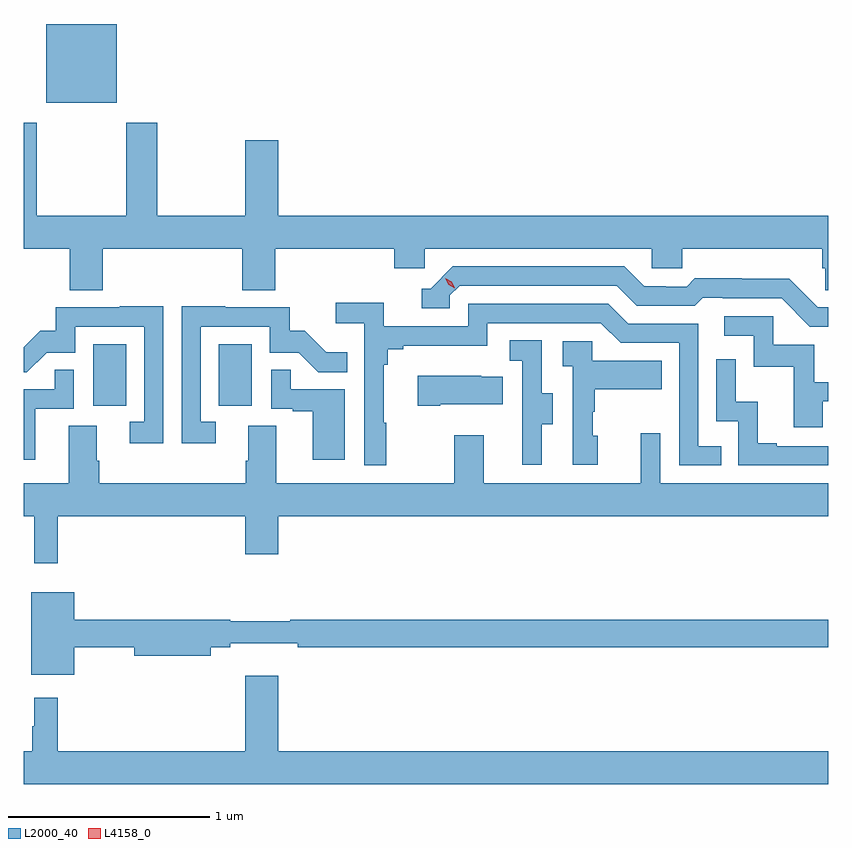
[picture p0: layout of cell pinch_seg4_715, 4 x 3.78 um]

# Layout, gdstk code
import gdstk
lib = gdstk.Library(unit=1e-6, precision=1e-09)
def R(c, l, rs):  # rectangles x0, y0, x1, y1
    for r in rs: c.add(gdstk.rectangle(r[:2], r[2:], *l))
def P(c, l, *ps):  # polygons
    for p in ps: c.add(gdstk.Polygon(p, *l))
L2000_40 = (2000, 40)
L4158_0 = (4158, 0)

pinch_seg4_715 = lib.new_cell('pinch_seg4_715')
R(pinch_seg4_715, L2000_40, [(835.58,812.022,835.744,812.329), (836.204,812.022,836.368,812.329), (835.346,813.53,835.696,813.921)])
P(pinch_seg4_715, L2000_40, [(835.628,812.804),(836.321,812.804),(836.321,812.596),(836.486,812.596),(836.486,812.804),(837.077,812.804),(837.077,812.706),(837.228,812.706),(837.228,812.804),(838.359,812.804),(838.359,812.706),(838.509,812.706),(838.509,812.804),(839.207,812.804),(839.207,812.706),(839.221,812.706),(839.221,812.596),(839.235,812.596),(839.235,812.968),(836.5,812.968),(836.5,813.343),(836.336,813.343),(836.336,812.968),(835.899,812.968),(835.899,813.43),(835.744,813.43),(835.744,812.968),(835.299,812.968),(835.299,813.43),(835.235,813.43),(835.235,812.804),(835.463,812.804),(835.463,812.596),(835.628,812.596)],
  [(839.235,812.511),(839.184,812.511),(839.042,812.653),(838.806,812.653),(838.806,812.656),(838.573,812.656),(838.531,812.613),(838.428,812.613),(838.428,812.616),(838.321,812.616),(838.222,812.715),(837.369,812.715),(837.258,812.604),(837.215,812.604),(837.215,812.508),(837.354,812.508),(837.354,812.571),(837.402,812.619),(838.185,812.619),(838.284,812.52),(838.573,812.52),(838.612,812.559),(838.711,812.559),(838.711,812.556),(839.004,812.556),(839.145,812.415),(839.235,812.415)],
  [(837.037,811.937),(837.025,811.937),(837.025,812.225),(837.044,812.225),(837.044,812.302),(837.121,812.302),(837.121,812.321),(837.54,812.321),(837.54,812.433),(838.104,812.433),(838.203,812.334),(838.494,812.334),(838.494,811.725),(838.703,811.725),(838.703,811.821),(838.59,811.821),(838.59,812.43),(838.24,812.43),(838.141,812.529),(837.444,812.529),(837.444,812.418),(837.026,812.418),(837.026,812.534),(836.787,812.534),(836.787,812.432),(836.928,812.432),(836.928,811.725),(837.037,811.725)],
  [(836.188,811.941),(836.115,811.941),(836.115,812.415),(836.457,812.415),(836.457,812.286),(836.601,812.286),(836.699,812.188),(836.843,812.188),(836.843,812.287),(836.739,812.287),(836.632,812.394),(836.556,812.394),(836.556,812.511),(836.237,812.511),(836.237,812.516),(836.019,812.516),(836.019,811.836),(836.188,811.836)],
  [(835.929,812.516),(835.711,812.516),(835.711,812.511),(835.393,812.511),(835.393,812.394),(835.316,812.394),(835.235,812.313),(835.235,812.188),(835.249,812.188),(835.347,812.286),(835.491,812.286),(835.491,812.415),(835.833,812.415),(835.833,811.941),(835.761,811.941),(835.761,811.836),(835.929,811.836)],
  [(839.209,812.043),(839.235,812.043),(839.235,812.139),(839.167,812.139),(839.167,812.325),(838.962,812.325),(838.962,812.466),(838.719,812.466),(838.719,812.37),(838.866,812.37),(838.866,812.217),(839.065,812.217),(839.065,811.914),(839.209,811.914)],
  [(837.811,811.93),(837.865,811.93),(837.865,812.085),(837.81,812.085),(837.81,812.348),(837.651,812.348),(837.651,812.245),(837.714,812.245),(837.714,811.941),(837.713,811.941),(837.713,811.728),(837.811,811.728)],
  [(838.09,811.872),(838.065,811.872),(838.065,811.991),(838.075,811.991),(838.075,812.105),(838.409,812.105),(838.409,812.245),(838.062,812.245),(838.062,812.343),(837.915,812.343),(837.915,812.219),(837.966,812.219),(837.966,811.728),(838.09,811.728)],
  [(839.235,811.821),(838.981,811.821),(838.981,811.834),(838.886,811.834),(838.886,812.042),(838.776,812.042),(838.776,812.254),(838.68,812.254),(838.68,811.944),(838.788,811.944),(838.788,811.725),(839.235,811.725)],
  [(836.83,812.103),(836.561,812.103),(836.561,812.201),(836.466,812.201),(836.466,812.007),(836.573,812.007),(836.573,811.995),(836.672,811.995),(836.672,811.752),(836.83,811.752)],
  [(835.291,812.007),(835.482,812.007),(835.482,812.201),(835.387,812.201),(835.387,812.103),(835.235,812.103),(835.235,811.752),(835.291,811.752)],
  [(837.307,812.03),(837.617,812.03),(837.617,812.167),(837.509,812.167),(837.509,812.17),(837.195,812.17),(837.195,812.023),(837.307,812.023)],
  [(835.403,811.472),(836.336,811.472),(836.336,811.284),(836.5,811.284),(836.5,811.472),(839.235,811.472),(839.235,811.636),(838.401,811.636),(838.401,811.885),(838.304,811.885),(838.304,811.636),(837.523,811.636),(837.523,811.876),(837.376,811.876),(837.376,811.636),(836.491,811.636),(836.491,811.922),(836.351,811.922),(836.351,811.748),(836.339,811.748),(836.339,811.636),(835.61,811.636),(835.61,811.748),(835.597,811.748),(835.597,811.922),(835.457,811.922),(835.457,811.636),(835.235,811.636),(835.235,811.472),(835.286,811.472),(835.286,811.239),(835.403,811.239)],
  [(835.486,810.82),(835.784,810.82),(835.784,810.778),(836.164,810.778),(836.164,810.82),(836.26,810.82),(836.26,810.839),(836.596,810.839),(836.596,810.82),(839.235,810.82),(839.235,810.956),(836.56,810.956),(836.56,810.949),(836.26,810.949),(836.26,810.956),(835.486,810.956),(835.486,811.093),(835.271,811.093),(835.271,810.683),(835.486,810.683)],
  [(839.235,810.304),(836.5,810.304),(836.5,810.679),(836.336,810.679),(836.336,810.304),(835.403,810.304),(835.403,810.568),(835.286,810.568),(835.286,810.428),(835.275,810.428),(835.275,810.304),(835.235,810.304),(835.235,810.14),(839.235,810.14)])
P(pinch_seg4_715, L4158_0, [(837.378,812.606),(837.348,812.625),(837.331,812.657),(837.331,812.657),(837.331,812.657),(837.362,812.638),(837.379,812.606),(837.379,812.606)])

lib.write_gds('pinch_seg4_715.gds')
